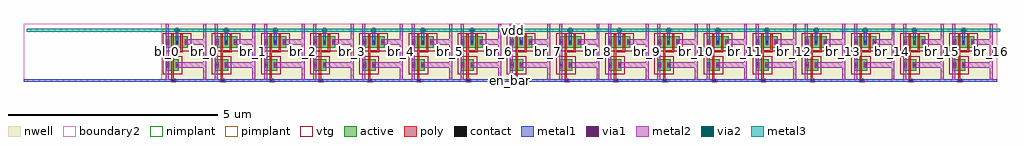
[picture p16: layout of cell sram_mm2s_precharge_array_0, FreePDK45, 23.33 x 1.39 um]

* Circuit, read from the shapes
.subckt sram_mm2s_precharge_array_0 bl_0 bl_1 bl_10 bl_11 bl_12 bl_13 bl_14 bl_15 bl_16 bl_2 bl_3 bl_4 bl_5 bl_6 bl_7 bl_8 bl_9 br_0 br_1 br_10 br_11 br_12 br_13 br_14 br_15 br_16 br_2 br_3 br_4 br_5 br_6 br_7 br_8 br_9 en_bar vdd
M1 br_0 en_bar bl_0 vdd pfet w=0.27u l=0.05u
M2 vdd en_bar bl_0 vdd pfet w=0.27u l=0.05u
M3 br_0 en_bar vdd vdd pfet w=0.27u l=0.05u
M4 br_1 en_bar bl_1 vdd pfet w=0.27u l=0.05u
M5 vdd en_bar bl_1 vdd pfet w=0.27u l=0.05u
M6 br_1 en_bar vdd vdd pfet w=0.27u l=0.05u
M7 br_2 en_bar bl_2 vdd pfet w=0.27u l=0.05u
M8 vdd en_bar bl_2 vdd pfet w=0.27u l=0.05u
M9 br_2 en_bar vdd vdd pfet w=0.27u l=0.05u
M10 br_3 en_bar bl_3 vdd pfet w=0.27u l=0.05u
M11 vdd en_bar bl_3 vdd pfet w=0.27u l=0.05u
M12 br_3 en_bar vdd vdd pfet w=0.27u l=0.05u
M13 br_4 en_bar bl_4 vdd pfet w=0.27u l=0.05u
M14 vdd en_bar bl_4 vdd pfet w=0.27u l=0.05u
M15 br_4 en_bar vdd vdd pfet w=0.27u l=0.05u
M16 br_5 en_bar bl_5 vdd pfet w=0.27u l=0.05u
M17 vdd en_bar bl_5 vdd pfet w=0.27u l=0.05u
M18 br_5 en_bar vdd vdd pfet w=0.27u l=0.05u
M19 br_6 en_bar bl_6 vdd pfet w=0.27u l=0.05u
M20 vdd en_bar bl_6 vdd pfet w=0.27u l=0.05u
M21 br_6 en_bar vdd vdd pfet w=0.27u l=0.05u
M22 br_7 en_bar bl_7 vdd pfet w=0.27u l=0.05u
M23 vdd en_bar bl_7 vdd pfet w=0.27u l=0.05u
M24 br_7 en_bar vdd vdd pfet w=0.27u l=0.05u
M25 br_8 en_bar bl_8 vdd pfet w=0.27u l=0.05u
M26 vdd en_bar bl_8 vdd pfet w=0.27u l=0.05u
M27 br_8 en_bar vdd vdd pfet w=0.27u l=0.05u
M28 br_9 en_bar bl_9 vdd pfet w=0.27u l=0.05u
M29 vdd en_bar bl_9 vdd pfet w=0.27u l=0.05u
M30 br_9 en_bar vdd vdd pfet w=0.27u l=0.05u
M31 br_10 en_bar bl_10 vdd pfet w=0.27u l=0.05u
M32 vdd en_bar bl_10 vdd pfet w=0.27u l=0.05u
M33 br_10 en_bar vdd vdd pfet w=0.27u l=0.05u
M34 br_11 en_bar bl_11 vdd pfet w=0.27u l=0.05u
M35 vdd en_bar bl_11 vdd pfet w=0.27u l=0.05u
M36 br_11 en_bar vdd vdd pfet w=0.27u l=0.05u
M37 br_12 en_bar bl_12 vdd pfet w=0.27u l=0.05u
M38 vdd en_bar bl_12 vdd pfet w=0.27u l=0.05u
M39 br_12 en_bar vdd vdd pfet w=0.27u l=0.05u
M40 br_13 en_bar bl_13 vdd pfet w=0.27u l=0.05u
M41 vdd en_bar bl_13 vdd pfet w=0.27u l=0.05u
M42 br_13 en_bar vdd vdd pfet w=0.27u l=0.05u
M43 br_14 en_bar bl_14 vdd pfet w=0.27u l=0.05u
M44 vdd en_bar bl_14 vdd pfet w=0.27u l=0.05u
M45 br_14 en_bar vdd vdd pfet w=0.27u l=0.05u
M46 br_15 en_bar bl_15 vdd pfet w=0.27u l=0.05u
M47 vdd en_bar bl_15 vdd pfet w=0.27u l=0.05u
M48 br_15 en_bar vdd vdd pfet w=0.27u l=0.05u
M49 br_16 en_bar bl_16 vdd pfet w=0.27u l=0.05u
M50 vdd en_bar bl_16 vdd pfet w=0.27u l=0.05u
M51 br_16 en_bar vdd vdd pfet w=0.27u l=0.05u
.ends

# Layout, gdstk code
import gdstk
lib = gdstk.Library(unit=1e-6, precision=5e-10)
def R(c, l, rs):  # rectangles x0, y0, x1, y1
    for r in rs: c.add(gdstk.rectangle(r[:2], r[2:], *l))
active = (1, 0)
nwell = (3, 0)
nimplant = (4, 0)
pimplant = (5, 0)
vtg = (6, 0)
poly = (9, 0)
contact = (10, 0)
metal1 = (11, 0)
via1 = (12, 0)
metal2 = (13, 0)
via2 = (14, 0)
metal3 = (15, 0)
boundary2 = (239, 0)

sram_mm2s_contact_11 = lib.new_cell('sram_mm2s_contact_11')
R(sram_mm2s_contact_11, active, [(0,0.0225,0.09,0.1125)])
R(sram_mm2s_contact_11, nwell, [(-0.055,-0.0325,0.145,0.1675)])
R(sram_mm2s_contact_11, pimplant, [(0,0.0225,0.09,0.1125)])
R(sram_mm2s_contact_11, contact, [(0.0125,0.035,0.0775,0.1)])
R(sram_mm2s_contact_11, metal1, [(0.0125,0,0.0775,0.135)])
R(sram_mm2s_contact_11, boundary2, [(-0.055,-0.0325,0.145,0.1675)])

sram_mm2s_pmos_m1_w0_270 = lib.new_cell('sram_mm2s_pmos_m1_w0_270_sm1_dm1')
R(sram_mm2s_pmos_m1_w0_270, active, [(0,0,0.305,0.27)])
R(sram_mm2s_pmos_m1_w0_270, nwell, [(-0.08,-0.08,0.385,0.35)])
R(sram_mm2s_pmos_m1_w0_270, pimplant, [(0,0,0.305,0.27)])
R(sram_mm2s_pmos_m1_w0_270, vtg, [(-0.08,-0.08,0.385,0.35)])
R(sram_mm2s_pmos_m1_w0_270, poly, [(0.1275,-0.055,0.1775,0.325), (0.1275,-0.055,0.1775,0.325)])
R(sram_mm2s_pmos_m1_w0_270, metal1, [(0.0125,0.0675,0.0775,0.2025), (0.2275,0.0675,0.2925,0.2025)])
R(sram_mm2s_pmos_m1_w0_270, boundary2, [(-0.08,-0.08,0.385,0.35)])
sram_mm2s_pmos_m1_w0_270.add(gdstk.Reference(sram_mm2s_contact_11, (0,0.0675)))
sram_mm2s_pmos_m1_w0_270.add(gdstk.Reference(sram_mm2s_contact_11, (0.215,0.0675)))
sram_mm2s_pmos_m1_w0_270.add(gdstk.Label('G', (0.1525,0.135), layer=9, texttype=0))
sram_mm2s_pmos_m1_w0_270.add(gdstk.Label('S', (0.045,0.135), layer=11, texttype=0))
sram_mm2s_pmos_m1_w0_270.add(gdstk.Label('D', (0.26,0.135), layer=11, texttype=0))

sram_mm2s_contact_14 = lib.new_cell('sram_mm2s_contact_14')
R(sram_mm2s_contact_14, poly, [(0.03,0,0.105,0.075)])
R(sram_mm2s_contact_14, contact, [(0.035,0.005,0.1,0.07)])
R(sram_mm2s_contact_14, metal1, [(0,0.005,0.135,0.07)])
R(sram_mm2s_contact_14, boundary2, [(0,0,0.135,0.075)])

sram_mm2s_contact_22 = lib.new_cell('sram_mm2s_contact_22')
R(sram_mm2s_contact_22, active, [(0.0225,0,0.1125,0.09)])
R(sram_mm2s_contact_22, nwell, [(-0.0325,-0.055,0.1675,0.145)])
R(sram_mm2s_contact_22, nimplant, [(0.0225,0,0.1125,0.09)])
R(sram_mm2s_contact_22, contact, [(0.035,0.0125,0.1,0.0775)])
R(sram_mm2s_contact_22, metal1, [(0,0.0125,0.135,0.0775)])
R(sram_mm2s_contact_22, boundary2, [(-0.0325,-0.055,0.1675,0.145)])

sram_mm2s_contact_17 = lib.new_cell('sram_mm2s_contact_17')
R(sram_mm2s_contact_17, metal1, [(0,0.035,0.135,0.1)])
R(sram_mm2s_contact_17, via1, [(0.035,0.035,0.1,0.1)])
R(sram_mm2s_contact_17, metal2, [(0.0325,0,0.1025,0.135)])
R(sram_mm2s_contact_17, boundary2, [(0,0,0.135,0.135)])

sram_mm2s_contact_23 = lib.new_cell('sram_mm2s_contact_23')
R(sram_mm2s_contact_23, metal1, [(0.0025,0,0.0675,0.135)])
R(sram_mm2s_contact_23, via1, [(0.0025,0.035,0.0675,0.1)])
R(sram_mm2s_contact_23, metal2, [(0,0,0.07,0.135)])
R(sram_mm2s_contact_23, boundary2, [(0,0,0.07,0.135)])

sram_mm2s_precharge_1 = lib.new_cell('sram_mm2s_precharge_1')
R(sram_mm2s_precharge_1, nwell, [(0,0,1.175,1.34)])
R(sram_mm2s_precharge_1, poly, [(0.24,-0.0375,0.29,0.0125), (0.265,-0.0375,0.29,0.0125), (0.24,-0.0125,0.29,0.165), (0.24,0.545,0.29,0.715), (0.24,0.665,0.505,0.715)])
R(sram_mm2s_precharge_1, metal1, [(0,-0.045,1.175,0.02), (0.34,0.905,0.405,1.185), (0.34,1.1525,0.405,1.2175)])
R(sram_mm2s_precharge_1, metal2, [(0.105,0,0.175,1.34), (0.105,0,0.175,1.34), (1,0,1.07,1.34), (1,0,1.07,1.34), (0.14,0.2875,0.1575,0.4225), (0.3725,0.2875,1.035,0.4225), (0.14,0.8375,0.1575,0.9725), (0.5875,0.8375,1.035,0.9725)])
R(sram_mm2s_precharge_1, boundary2, [(0,0,1.175,1.34)])
sram_mm2s_precharge_1.add(gdstk.Reference(sram_mm2s_pmos_m1_w0_270, (0.1125,0.22)))
sram_mm2s_precharge_1.add(gdstk.Reference(sram_mm2s_pmos_m1_w0_270, (0.1125,0.77)))
sram_mm2s_precharge_1.add(gdstk.Reference(sram_mm2s_pmos_m1_w0_270, (0.3275,0.77)))
sram_mm2s_precharge_1.add(gdstk.Reference(sram_mm2s_contact_14, (0.2225,-0.05)))
sram_mm2s_precharge_1.add(gdstk.Reference(sram_mm2s_contact_22, (0.305,1.14)))
sram_mm2s_precharge_1.add(gdstk.Reference(sram_mm2s_contact_17, (0.305,1.1175)))
sram_mm2s_precharge_1.add(gdstk.Reference(sram_mm2s_contact_23, (0.1225,0.2875)))
sram_mm2s_precharge_1.add(gdstk.Reference(sram_mm2s_contact_23, (0.3375,0.2875)))
sram_mm2s_precharge_1.add(gdstk.Reference(sram_mm2s_contact_23, (0.1225,0.8375)))
sram_mm2s_precharge_1.add(gdstk.Reference(sram_mm2s_contact_23, (0.5525,0.8375)))
sram_mm2s_precharge_1.add(gdstk.Label('en_bar', (0.5875,-0.0125), layer=11, texttype=0))
sram_mm2s_precharge_1.add(gdstk.Label('vdd', (0.3725,1.185), layer=11, texttype=0))
sram_mm2s_precharge_1.add(gdstk.Label('bl', (0.14,0.67), layer=13, texttype=0))
sram_mm2s_precharge_1.add(gdstk.Label('br', (1.035,0.67), layer=13, texttype=0))

sram_mm2s_contact_18 = lib.new_cell('sram_mm2s_contact_18')
R(sram_mm2s_contact_18, metal2, [(0.0325,0,0.1025,0.135)])
R(sram_mm2s_contact_18, via2, [(0.035,0.035,0.1,0.1)])
R(sram_mm2s_contact_18, metal3, [(0,0.0325,0.135,0.1025)])
R(sram_mm2s_contact_18, boundary2, [(0,0,0.135,0.135)])

sram_mm2s_precharge_arra = lib.new_cell('sram_mm2s_precharge_array_0')
R(sram_mm2s_precharge_arra, metal1, [(0,-0.045,23.26,0.02), (3.84,-0.045,3.905,0.02), (3.84,-0.045,3.905,0.02), (5.015,-0.045,5.08,0.02), (5.015,-0.045,5.08,0.02), (6.19,-0.045,6.255,0.02), (6.19,-0.045,6.255,0.02), (7.365,-0.045,7.43,0.02), (7.365,-0.045,7.43,0.02), (8.54,-0.045,8.605,0.02), (8.54,-0.045,8.605,0.02), (9.715,-0.045,9.78,0.02), (9.715,-0.045,9.78,0.02), (10.89,-0.045,10.955,0.02), (10.89,-0.045,10.955,0.02), (12.065,-0.045,12.13,0.02), (12.065,-0.045,12.13,0.02), (13.24,-0.045,13.305,0.02), (13.24,-0.045,13.305,0.02), (14.415,-0.045,14.48,0.02), (14.415,-0.045,14.48,0.02), (15.59,-0.045,15.655,0.02), (15.59,-0.045,15.655,0.02), (16.765,-0.045,16.83,0.02), (16.765,-0.045,16.83,0.02), (17.94,-0.045,18.005,0.02), (17.94,-0.045,18.005,0.02), (19.115,-0.045,19.18,0.02), (19.115,-0.045,19.18,0.02), (20.29,-0.045,20.355,0.02), (20.29,-0.045,20.355,0.02), (21.465,-0.045,21.53,0.02), (21.465,-0.045,21.53,0.02), (22.64,-0.045,22.705,0.02), (22.64,-0.045,22.705,0.02)])
R(sram_mm2s_precharge_arra, metal2, [(3.39,0,3.46,1.34), (4.285,0,4.355,1.34), (4.565,0,4.635,1.34), (5.46,0,5.53,1.34), (5.74,0,5.81,1.34), (6.635,0,6.705,1.34), (6.915,0,6.985,1.34), (7.81,0,7.88,1.34), (8.09,0,8.16,1.34), (8.985,0,9.055,1.34), (9.265,0,9.335,1.34), (10.16,0,10.23,1.34), (10.44,0,10.51,1.34), (11.335,0,11.405,1.34), (11.615,0,11.685,1.34), (12.51,0,12.58,1.34), (12.79,0,12.86,1.34), (13.685,0,13.755,1.34), (13.965,0,14.035,1.34), (14.86,0,14.93,1.34), (15.14,0,15.21,1.34), (16.035,0,16.105,1.34), (16.315,0,16.385,1.34), (17.21,0,17.28,1.34), (17.49,0,17.56,1.34), (18.385,0,18.455,1.34), (18.665,0,18.735,1.34), (19.56,0,19.63,1.34), (19.84,0,19.91,1.34), (20.735,0,20.805,1.34), (21.015,0,21.085,1.34), (21.91,0,21.98,1.34), (22.19,0,22.26,1.34), (23.085,0,23.155,1.34)])
R(sram_mm2s_precharge_arra, metal3, [(0.0675,1.15,23.3275,1.22)])
R(sram_mm2s_precharge_arra, boundary2, [(0,0,23.26,1.34)])
sram_mm2s_precharge_arra.add(gdstk.Reference(sram_mm2s_precharge_1, (3.285,0)))
sram_mm2s_precharge_arra.add(gdstk.Reference(sram_mm2s_precharge_1, (4.46,0)))
sram_mm2s_precharge_arra.add(gdstk.Reference(sram_mm2s_precharge_1, (5.635,0)))
sram_mm2s_precharge_arra.add(gdstk.Reference(sram_mm2s_precharge_1, (6.81,0)))
sram_mm2s_precharge_arra.add(gdstk.Reference(sram_mm2s_precharge_1, (7.985,0)))
sram_mm2s_precharge_arra.add(gdstk.Reference(sram_mm2s_precharge_1, (9.16,0)))
sram_mm2s_precharge_arra.add(gdstk.Reference(sram_mm2s_precharge_1, (10.335,0)))
sram_mm2s_precharge_arra.add(gdstk.Reference(sram_mm2s_precharge_1, (11.51,0)))
sram_mm2s_precharge_arra.add(gdstk.Reference(sram_mm2s_precharge_1, (12.685,0)))
sram_mm2s_precharge_arra.add(gdstk.Reference(sram_mm2s_precharge_1, (13.86,0)))
sram_mm2s_precharge_arra.add(gdstk.Reference(sram_mm2s_precharge_1, (15.035,0)))
sram_mm2s_precharge_arra.add(gdstk.Reference(sram_mm2s_precharge_1, (16.21,0)))
sram_mm2s_precharge_arra.add(gdstk.Reference(sram_mm2s_precharge_1, (17.385,0)))
sram_mm2s_precharge_arra.add(gdstk.Reference(sram_mm2s_precharge_1, (18.56,0)))
sram_mm2s_precharge_arra.add(gdstk.Reference(sram_mm2s_precharge_1, (19.735,0)))
sram_mm2s_precharge_arra.add(gdstk.Reference(sram_mm2s_precharge_1, (20.91,0)))
sram_mm2s_precharge_arra.add(gdstk.Reference(sram_mm2s_precharge_1, (22.085,0)))
sram_mm2s_precharge_arra.add(gdstk.Reference(sram_mm2s_contact_17, (3.59,1.1175)))
sram_mm2s_precharge_arra.add(gdstk.Reference(sram_mm2s_contact_18, (3.59,1.1175)))
sram_mm2s_precharge_arra.add(gdstk.Reference(sram_mm2s_contact_17, (4.765,1.1175)))
sram_mm2s_precharge_arra.add(gdstk.Reference(sram_mm2s_contact_18, (4.765,1.1175)))
sram_mm2s_precharge_arra.add(gdstk.Reference(sram_mm2s_contact_17, (5.94,1.1175)))
sram_mm2s_precharge_arra.add(gdstk.Reference(sram_mm2s_contact_18, (5.94,1.1175)))
sram_mm2s_precharge_arra.add(gdstk.Reference(sram_mm2s_contact_17, (7.115,1.1175)))
sram_mm2s_precharge_arra.add(gdstk.Reference(sram_mm2s_contact_18, (7.115,1.1175)))
sram_mm2s_precharge_arra.add(gdstk.Reference(sram_mm2s_contact_17, (8.29,1.1175)))
sram_mm2s_precharge_arra.add(gdstk.Reference(sram_mm2s_contact_18, (8.29,1.1175)))
sram_mm2s_precharge_arra.add(gdstk.Reference(sram_mm2s_contact_17, (9.465,1.1175)))
sram_mm2s_precharge_arra.add(gdstk.Reference(sram_mm2s_contact_18, (9.465,1.1175)))
sram_mm2s_precharge_arra.add(gdstk.Reference(sram_mm2s_contact_17, (10.64,1.1175)))
sram_mm2s_precharge_arra.add(gdstk.Reference(sram_mm2s_contact_18, (10.64,1.1175)))
sram_mm2s_precharge_arra.add(gdstk.Reference(sram_mm2s_contact_17, (11.815,1.1175)))
sram_mm2s_precharge_arra.add(gdstk.Reference(sram_mm2s_contact_18, (11.815,1.1175)))
sram_mm2s_precharge_arra.add(gdstk.Reference(sram_mm2s_contact_17, (12.99,1.1175)))
sram_mm2s_precharge_arra.add(gdstk.Reference(sram_mm2s_contact_18, (12.99,1.1175)))
sram_mm2s_precharge_arra.add(gdstk.Reference(sram_mm2s_contact_17, (14.165,1.1175)))
sram_mm2s_precharge_arra.add(gdstk.Reference(sram_mm2s_contact_18, (14.165,1.1175)))
sram_mm2s_precharge_arra.add(gdstk.Reference(sram_mm2s_contact_17, (15.34,1.1175)))
sram_mm2s_precharge_arra.add(gdstk.Reference(sram_mm2s_contact_18, (15.34,1.1175)))
sram_mm2s_precharge_arra.add(gdstk.Reference(sram_mm2s_contact_17, (16.515,1.1175)))
sram_mm2s_precharge_arra.add(gdstk.Reference(sram_mm2s_contact_18, (16.515,1.1175)))
sram_mm2s_precharge_arra.add(gdstk.Reference(sram_mm2s_contact_17, (17.69,1.1175)))
sram_mm2s_precharge_arra.add(gdstk.Reference(sram_mm2s_contact_18, (17.69,1.1175)))
sram_mm2s_precharge_arra.add(gdstk.Reference(sram_mm2s_contact_17, (18.865,1.1175)))
sram_mm2s_precharge_arra.add(gdstk.Reference(sram_mm2s_contact_18, (18.865,1.1175)))
sram_mm2s_precharge_arra.add(gdstk.Reference(sram_mm2s_contact_17, (20.04,1.1175)))
sram_mm2s_precharge_arra.add(gdstk.Reference(sram_mm2s_contact_18, (20.04,1.1175)))
sram_mm2s_precharge_arra.add(gdstk.Reference(sram_mm2s_contact_17, (21.215,1.1175)))
sram_mm2s_precharge_arra.add(gdstk.Reference(sram_mm2s_contact_18, (21.215,1.1175)))
sram_mm2s_precharge_arra.add(gdstk.Reference(sram_mm2s_contact_17, (22.39,1.1175)))
sram_mm2s_precharge_arra.add(gdstk.Reference(sram_mm2s_contact_18, (22.39,1.1175)))
sram_mm2s_precharge_arra.add(gdstk.Label('en_bar', (11.63,-0.0125), layer=11, texttype=0))
sram_mm2s_precharge_arra.add(gdstk.Label('bl_0', (3.425,0.67), layer=13, texttype=0))
sram_mm2s_precharge_arra.add(gdstk.Label('br_0', (4.32,0.67), layer=13, texttype=0))
sram_mm2s_precharge_arra.add(gdstk.Label('bl_1', (4.6,0.67), layer=13, texttype=0))
sram_mm2s_precharge_arra.add(gdstk.Label('br_1', (5.495,0.67), layer=13, texttype=0))
sram_mm2s_precharge_arra.add(gdstk.Label('bl_2', (5.775,0.67), layer=13, texttype=0))
sram_mm2s_precharge_arra.add(gdstk.Label('br_2', (6.67,0.67), layer=13, texttype=0))
sram_mm2s_precharge_arra.add(gdstk.Label('bl_3', (6.95,0.67), layer=13, texttype=0))
sram_mm2s_precharge_arra.add(gdstk.Label('br_3', (7.845,0.67), layer=13, texttype=0))
sram_mm2s_precharge_arra.add(gdstk.Label('bl_4', (8.125,0.67), layer=13, texttype=0))
sram_mm2s_precharge_arra.add(gdstk.Label('br_4', (9.02,0.67), layer=13, texttype=0))
sram_mm2s_precharge_arra.add(gdstk.Label('bl_5', (9.3,0.67), layer=13, texttype=0))
sram_mm2s_precharge_arra.add(gdstk.Label('br_5', (10.195,0.67), layer=13, texttype=0))
sram_mm2s_precharge_arra.add(gdstk.Label('bl_6', (10.475,0.67), layer=13, texttype=0))
sram_mm2s_precharge_arra.add(gdstk.Label('br_6', (11.37,0.67), layer=13, texttype=0))
sram_mm2s_precharge_arra.add(gdstk.Label('bl_7', (11.65,0.67), layer=13, texttype=0))
sram_mm2s_precharge_arra.add(gdstk.Label('br_7', (12.545,0.67), layer=13, texttype=0))
sram_mm2s_precharge_arra.add(gdstk.Label('bl_8', (12.825,0.67), layer=13, texttype=0))
sram_mm2s_precharge_arra.add(gdstk.Label('br_8', (13.72,0.67), layer=13, texttype=0))
sram_mm2s_precharge_arra.add(gdstk.Label('bl_9', (14,0.67), layer=13, texttype=0))
sram_mm2s_precharge_arra.add(gdstk.Label('br_9', (14.895,0.67), layer=13, texttype=0))
sram_mm2s_precharge_arra.add(gdstk.Label('bl_10', (15.175,0.67), layer=13, texttype=0))
sram_mm2s_precharge_arra.add(gdstk.Label('br_10', (16.07,0.67), layer=13, texttype=0))
sram_mm2s_precharge_arra.add(gdstk.Label('bl_11', (16.35,0.67), layer=13, texttype=0))
sram_mm2s_precharge_arra.add(gdstk.Label('br_11', (17.245,0.67), layer=13, texttype=0))
sram_mm2s_precharge_arra.add(gdstk.Label('bl_12', (17.525,0.67), layer=13, texttype=0))
sram_mm2s_precharge_arra.add(gdstk.Label('br_12', (18.42,0.67), layer=13, texttype=0))
sram_mm2s_precharge_arra.add(gdstk.Label('bl_13', (18.7,0.67), layer=13, texttype=0))
sram_mm2s_precharge_arra.add(gdstk.Label('br_13', (19.595,0.67), layer=13, texttype=0))
sram_mm2s_precharge_arra.add(gdstk.Label('bl_14', (19.875,0.67), layer=13, texttype=0))
sram_mm2s_precharge_arra.add(gdstk.Label('br_14', (20.77,0.67), layer=13, texttype=0))
sram_mm2s_precharge_arra.add(gdstk.Label('bl_15', (21.05,0.67), layer=13, texttype=0))
sram_mm2s_precharge_arra.add(gdstk.Label('br_15', (21.945,0.67), layer=13, texttype=0))
sram_mm2s_precharge_arra.add(gdstk.Label('bl_16', (22.225,0.67), layer=13, texttype=0))
sram_mm2s_precharge_arra.add(gdstk.Label('br_16', (23.12,0.67), layer=13, texttype=0))
sram_mm2s_precharge_arra.add(gdstk.Label('vdd', (11.6975,1.185), layer=15, texttype=0))

lib.write_gds('sram_mm2s_precharge_array_0.gds')
